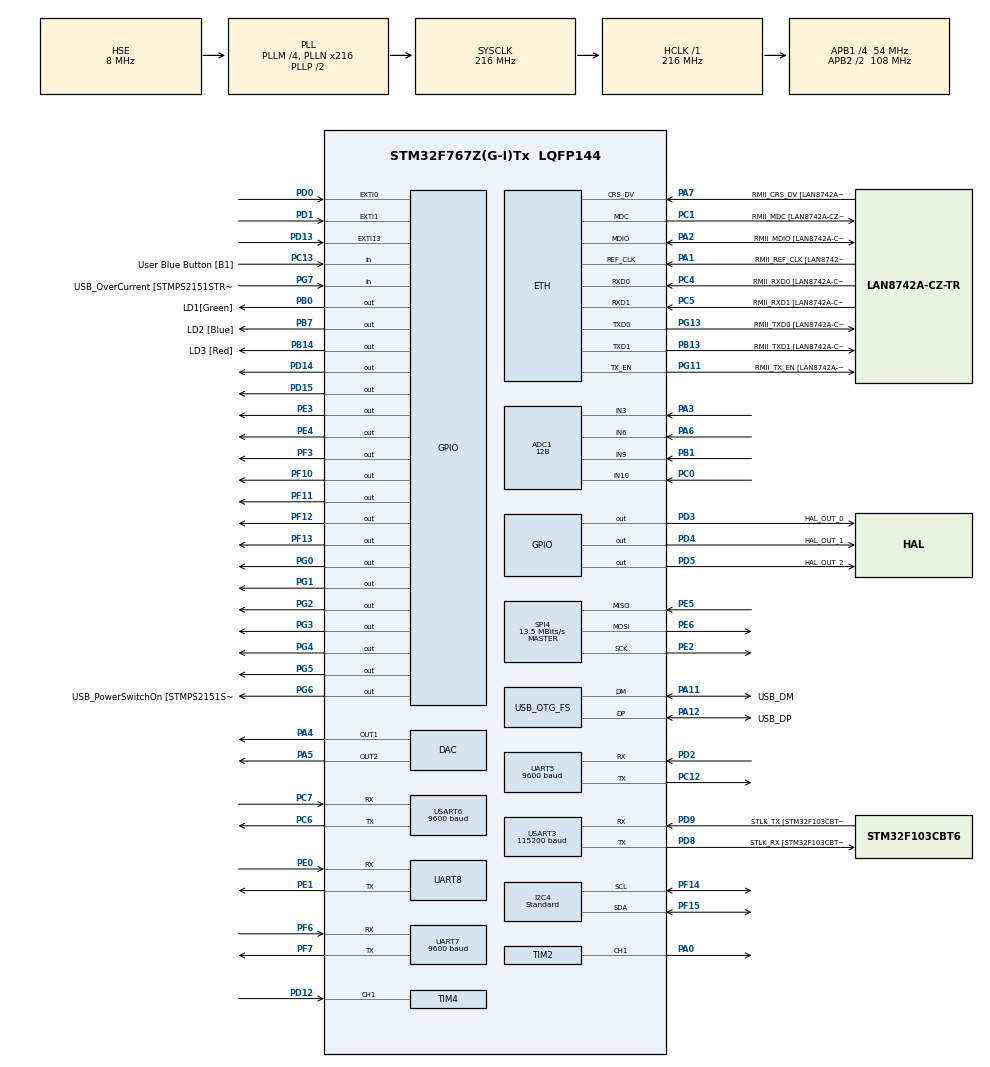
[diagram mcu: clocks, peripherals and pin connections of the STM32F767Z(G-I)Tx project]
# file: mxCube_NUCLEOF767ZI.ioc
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ADC1.AutoInjectedConv=DISABLE
ADC1.Channel-0\#ChannelRegularConversion=ADC_CHANNEL_10
ADC1.Channel-1\#ChannelRegularConversion=ADC_CHANNEL_3
ADC1.Channel-2\#ChannelRegularConversion=ADC_CHANNEL_6
ADC1.Channel-3\#ChannelRegularConversion=ADC_CHANNEL_9
ADC1.Channel-4\#ChannelRegularConversion=ADC_CHANNEL_TEMPSENSOR
ADC1.Channel-5\#ChannelRegularConversion=ADC_CHANNEL_VREFINT
ADC1.ClockPrescaler=ADC_CLOCK_SYNC_PCLK_DIV4
ADC1.ContinuousConvMode=ENABLE
ADC1.DMAContinuousRequests=ENABLE
ADC1.DataAlign=ADC_DATAALIGN_RIGHT
ADC1.DiscontinuousConvMode=DISABLE
ADC1.EOCSelection=ADC_EOC_SINGLE_CONV
ADC1.EnableAnalogWatchDog=false
ADC1.ExternalTrigConvEdge=ADC_EXTERNALTRIGCONVEDGE_NONE
ADC1.InjNumberOfConversion=0
ADC1.InjectedDiscontinuousConvMode=DISABLE
ADC1.NbrOfConversion=6
ADC1.NbrOfConversionFlag=1
ADC1.Rank-0\#ChannelRegularConversion=1
ADC1.Rank-1\#ChannelRegularConversion=2
ADC1.Rank-2\#ChannelRegularConversion=3
ADC1.Rank-3\#ChannelRegularConversion=4
ADC1.Rank-4\#ChannelRegularConversion=5
ADC1.Rank-5\#ChannelRegularConversion=6
ADC1.Resolution=ADC_RESOLUTION_12B
ADC1.SamplingTime-0\#ChannelRegularConversion=ADC_SAMPLETIME_480CYCLES
ADC1.SamplingTime-1\#ChannelRegularConversion=ADC_SAMPLETIME_480CYCLES
ADC1.SamplingTime-2\#ChannelRegularConversion=ADC_SAMPLETIME_480CYCLES
ADC1.SamplingTime-3\#ChannelRegularConversion=ADC_SAMPLETIME_480CYCLES
ADC1.SamplingTime-4\#ChannelRegularConversion=ADC_SAMPLETIME_480CYCLES
ADC1.SamplingTime-5\#ChannelRegularConversion=ADC_SAMPLETIME_480CYCLES
ADC1.ScanConvMode=ENABLE
ADC1.master=1
CORTEX_M7.CPU_DCache=Enabled
CORTEX_M7.CPU_ICache=Enabled
CORTEX_M7.PREFETCH_ENABLE=1
DAC.DAC_Channel=DAC_CHANNEL_1
DAC.DAC_Channel2=DAC_CHANNEL_2
DAC.WaveGeneration=DISABLE
DAC.WaveGeneration2=DISABLE
Dma.ADC1.0.Direction=DMA_PERIPH_TO_MEMORY
Dma.ADC1.0.FIFOMode=DMA_FIFOMODE_DISABLE
Dma.ADC1.0.Instance=DMA2_Stream0
Dma.ADC1.0.MemDataAlignment=DMA_MDATAALIGN_HALFWORD
Dma.ADC1.0.MemInc=DMA_MINC_ENABLE
Dma.ADC1.0.Mode=DMA_CIRCULAR
Dma.ADC1.0.PeriphDataAlignment=DMA_PDATAALIGN_HALFWORD
Dma.ADC1.0.PeriphInc=DMA_PINC_DISABLE
Dma.ADC1.0.Priority=DMA_PRIORITY_LOW
Dma.I2C4_RX.1.Direction=DMA_PERIPH_TO_MEMORY
Dma.I2C4_RX.1.FIFOMode=DMA_FIFOMODE_DISABLE
Dma.I2C4_RX.1.Instance=DMA1_Stream1
Dma.I2C4_RX.1.MemDataAlignment=DMA_MDATAALIGN_BYTE
Dma.I2C4_RX.1.MemInc=DMA_MINC_ENABLE
Dma.I2C4_RX.1.Mode=DMA_NORMAL
Dma.I2C4_RX.1.PeriphDataAlignment=DMA_PDATAALIGN_BYTE
Dma.I2C4_RX.1.PeriphInc=DMA_PINC_DISABLE
Dma.I2C4_RX.1.Priority=DMA_PRIORITY_LOW
Dma.I2C4_TX.2.Direction=DMA_MEMORY_TO_PERIPH
Dma.I2C4_TX.2.FIFOMode=DMA_FIFOMODE_DISABLE
Dma.I2C4_TX.2.Instance=DMA1_Stream5
Dma.I2C4_TX.2.MemDataAlignment=DMA_MDATAALIGN_BYTE
Dma.I2C4_TX.2.MemInc=DMA_MINC_ENABLE
Dma.I2C4_TX.2.Mode=DMA_NORMAL
Dma.I2C4_TX.2.PeriphDataAlignment=DMA_PDATAALIGN_BYTE
Dma.I2C4_TX.2.PeriphInc=DMA_PINC_DISABLE
Dma.I2C4_TX.2.Priority=DMA_PRIORITY_LOW
Dma.Request0=ADC1
Dma.Request1=I2C4_RX
Dma.Request2=I2C4_TX
ETH.MediaInterface=ETH_MEDIA_INTERFACE_RMII
I2C4.I2C_Fall_Time=300
I2C4.I2C_Rise_Time=200
I2C4.I2C_Speed_Mode=I2C_Standard
I2C4.OwnAddress2Masks=I2C_OA2_NOMASK
I2C4.Speed=100
I2C4.Timing=0x10C66991
Mcu.Family=STM32F7
Mcu.Name=STM32F767Z(G-I)Tx
Mcu.Package=LQFP144
NVIC.ADC_IRQn=true\:4\:0\:true\:false\:true
NVIC.DMA1_Stream1_IRQn=true\:0\:0\:false\:false\:true
NVIC.DMA1_Stream5_IRQn=true\:0\:0\:false\:false\:true
NVIC.DMA2_Stream0_IRQn=true\:0\:0\:false\:false\:true
NVIC.EXTI0_IRQn=true\:3\:0\:true\:false\:true
NVIC.EXTI15_10_IRQn=true\:3\:0\:true\:false\:true
NVIC.EXTI1_IRQn=true\:3\:0\:true\:false\:true
NVIC.I2C4_ER_IRQn=true\:1\:0\:true\:false\:true
NVIC.I2C4_EV_IRQn=true\:7\:0\:true\:false\:true
NVIC.PriorityGroup=NVIC_PRIORITYGROUP_4
NVIC.TIM3_IRQn=true\:2\:0\:true\:false\:true
NVIC.TIM4_IRQn=true\:6\:0\:true\:false\:true
NVIC.TIM6_DAC_IRQn=true\:0\:0\:false\:false\:true
NVIC.UART5_IRQn=true\:3\:0\:true\:false\:true
NVIC.UART7_IRQn=true\:0\:0\:false\:false\:true
NVIC.UART8_IRQn=true\:0\:0\:false\:false\:true
NVIC.USART3_IRQn=true\:6\:0\:true\:false\:true
NVIC.USART6_IRQn=true\:0\:0\:false\:false\:true
PA0/WKUP.GPIO_Speed=GPIO_SPEED_FREQ_VERY_HIGH
PA0/WKUP.Signal=S_TIM2_CH1_ETR
PA1.GPIO_Label=RMII_REF_CLK [LAN8742A-CZ-TR_REFCLK0]
PA1.Mode=RMII
PA1.Signal=ETH_REF_CLK
PA10.GPIO_Label=USB_ID
PA10.Signal=USB_OTG_FS_ID
PA11.GPIO_Label=USB_DM
PA11.Mode=Device_Only
PA11.Signal=USB_OTG_FS_DM
PA12.GPIO_Label=USB_DP
PA12.Mode=Device_Only
PA12.Signal=USB_OTG_FS_DP
PA13.GPIO_Label=TMS
PA13.Mode=Trace_Asynchronous_SW
PA13.Signal=SYS_JTMS-SWDIO
PA14.GPIO_Label=TCK
PA14.Mode=Trace_Asynchronous_SW
PA14.Signal=SYS_JTCK-SWCLK
PA2.GPIO_Label=RMII_MDIO [LAN8742A-CZ-TR_MDIO]
PA2.Mode=RMII
PA2.Signal=ETH_MDIO
PA3.Signal=ADCx_IN3
PA4.Signal=COMP_DAC1_group
PA5.Signal=COMP_DAC2_group
PA6.Signal=ADCx_IN6
PA7.GPIO_Label=RMII_CRS_DV [LAN8742A-CZ-TR_CRS_DV]
PA7.Mode=RMII
PA7.Signal=ETH_CRS_DV
PA8.GPIO_Label=USB_SOF [TP1]
PA8.Signal=USB_OTG_FS_SOF
PA9.GPIO_Label=USB_VBUS
PA9.Signal=USB_OTG_FS_VBUS
PB0.GPIO_Label=LD1[Green]
PB0.Signal=GPIO_Output
PB1.Signal=ADCx_IN9
PB13.GPIO_Label=RMII_TXD1 [LAN8742A-CZ-TR_TXD1]
PB13.Mode=RMII
PB13.Signal=ETH_TXD1
PB14.GPIO_Label=LD3 [Red]
PB14.Signal=GPIO_Output
PB3.GPIO_Label=SW0
PB3.Mode=Trace_Asynchronous_SW
PB3.Signal=SYS_JTDO-SWO
PB7.GPIO_Label=LD2 [Blue]
PB7.Signal=GPIO_Output
PC0.Signal=ADCx_IN10
PC1.GPIO_Label=RMII_MDC [LAN8742A-CZ-TR_MDC]
PC1.Mode=RMII
PC1.Signal=ETH_MDC
PC12.Mode=Asynchronous
PC12.Signal=UART5_TX
PC13.GPIO_Label=User Blue Button [B1]
PC13.Signal=GPIO_Input
PC14/OSC32_IN.Mode=LSE-External-Oscillator
PC14/OSC32_IN.Signal=RCC_OSC32_IN
PC15/OSC32_OUT.Mode=LSE-External-Oscillator
PC15/OSC32_OUT.Signal=RCC_OSC32_OUT
PC4.GPIO_Label=RMII_RXD0 [LAN8742A-CZ-TR_RXD0]
PC4.Mode=RMII
PC4.Signal=ETH_RXD0
PC5.GPIO_Label=RMII_RXD1 [LAN8742A-CZ-TR_RXD1]
PC5.Mode=RMII
PC5.Signal=ETH_RXD1
PC6.Mode=Asynchronous
PC6.Signal=USART6_TX
PC7.Mode=Asynchronous
PC7.Signal=USART6_RX
PD0.GPIO_PuPd=GPIO_PULLUP
PD0.Signal=GPXTI0
PD1.GPIO_PuPd=GPIO_PULLUP
PD1.Signal=GPXTI1
PD12.Signal=S_TIM4_CH1
PD13.GPIO_PuPd=GPIO_PULLUP
PD13.Signal=GPXTI13
PD14.Signal=GPIO_Output
PD15.Signal=GPIO_Output
PD2.Mode=Asynchronous
PD2.Signal=UART5_RX
PD3.GPIO_Label=HAL_OUT_0
PD3.Signal=GPIO_Output
PD4.GPIO_Label=HAL_OUT_1
PD4.Signal=GPIO_Output
PD5.GPIO_Label=HAL_OUT_2
PD5.Signal=GPIO_Output
PD8.GPIO_Label=STLK_RX [STM32F103CBT6_PA3]
PD8.Mode=Asynchronous
PD8.Signal=USART3_TX
PD9.GPIO_Label=STLK_TX [STM32F103CBT6_PA2]
PD9.Mode=Asynchronous
PD9.Signal=USART3_RX
PE0.Mode=Asynchronous
PE0.Signal=UART8_RX
PE1.Mode=Asynchronous
PE1.Signal=UART8_TX
PE2.Mode=Full_Duplex_Master
PE2.Signal=SPI4_SCK
PE3.Signal=GPIO_Output
PE4.Signal=GPIO_Output
PE5.Mode=Full_Duplex_Master
PE5.Signal=SPI4_MISO
PE6.Mode=Full_Duplex_Master
PE6.Signal=SPI4_MOSI
PF10.GPIO_Speed=GPIO_SPEED_FREQ_HIGH
PF10.Signal=GPIO_Output
PF11.GPIO_Speed=GPIO_SPEED_FREQ_HIGH
PF11.Signal=GPIO_Output
PF12.GPIO_Speed=GPIO_SPEED_FREQ_HIGH
PF12.Signal=GPIO_Output
PF13.GPIO_Speed=GPIO_SPEED_FREQ_HIGH
PF13.Signal=GPIO_Output
PF14.Mode=I2C
PF14.Signal=I2C4_SCL
PF15.Mode=I2C
PF15.Signal=I2C4_SDA
PF3.GPIO_Speed=GPIO_SPEED_FREQ_HIGH
PF3.Signal=GPIO_Output
PF6.Mode=Asynchronous
PF6.Signal=UART7_RX
PF7.Mode=Asynchronous
PF7.Signal=UART7_TX
PG0.Signal=GPIO_Output
PG1.Signal=GPIO_Output
PG11.GPIO_Label=RMII_TX_EN [LAN8742A-CZ-TR_TXEN]
PG11.Mode=RMII
PG11.Signal=ETH_TX_EN
PG13.GPIO_Label=RMII_TXD0 [LAN8742A-CZ-TR_TXD0]
PG13.Mode=RMII
PG13.Signal=ETH_TXD0
PG2.Signal=GPIO_Output
PG3.Signal=GPIO_Output
PG4.Signal=GPIO_Output
PG5.Signal=GPIO_Output
PG6.GPIO_Label=USB_PowerSwitchOn [STMPS2151STR_EN]
PG6.Signal=GPIO_Output
PG7.GPIO_Label=USB_OverCurrent [STMPS2151STR_FAULT]
PG7.Signal=GPIO_Input
PH0/OSC_IN.GPIO_Label=MCO [STM32F103CBT6_PA8]
PH0/OSC_IN.Mode=HSE-External-Oscillator
PH0/OSC_IN.Signal=RCC_OSC_IN
PH1/OSC_OUT.Mode=HSE-External-Oscillator
PH1/OSC_OUT.Signal=RCC_OSC_OUT
ProjectManager.HeapSize=0x200
ProjectManager.StackSize=0x400
ProjectManager.TargetToolchain=SW4STM32
RCC.48MHZClocksFreq_Value=24000000
RCC.AHBFreq_Value=216000000
RCC.APB1CLKDivider=RCC_HCLK_DIV4
RCC.APB1Freq_Value=54000000
RCC.APB1TimFreq_Value=108000000
RCC.APB2CLKDivider=RCC_HCLK_DIV2
RCC.APB2Freq_Value=108000000
RCC.APB2TimFreq_Value=216000000
RCC.CECEnable=false
RCC.ClockTypeHCLK=RCC_CLOCKTYPE_HCLK
RCC.ClockTypePCLK1=RCC_CLOCKTYPE_PCLK1
RCC.ClockTypePCLK2=RCC_CLOCKTYPE_PCLK2
RCC.ClockTypeSysClk=RCC_CLOCKTYPE_SYSCLK
RCC.CortexFreq_Value=216000000
RCC.EnableHSE=true
RCC.EnableHSERTCDevisor=false
RCC.EnableLSE=true
RCC.EnableLSERTC=false
RCC.ExtClockEnable=false
RCC.HCLKFreq_Value=216000000
RCC.HSEState=RCC_HSE_ON
RCC.HSE_VALUE=8000000
RCC.HSI_VALUE=16000000
RCC.I2C1Enable=false
RCC.I2C2Enable=false
RCC.I2C3Enable=false
RCC.I2C4Enable=true
RCC.I2SEnable=false
RCC.LCDEnable=false
RCC.LPTIM1Enable=false
RCC.LSEState=RCC_LSE_ON
RCC.LSIState=RCC_LSI_OFF
RCC.MCO1OutPutEnable=false
RCC.MCO2I2SEnable=false
RCC.MCO2OutPutEnable=false
RCC.OscillatorTypeHSE=RCC_OSCILLATORTYPE_HSE
RCC.PLLM=4
RCC.PLLMUL=RCC_PLL_MUL9
RCC.PLLN=216
RCC.PLLQ=9
RCC.PLLSourceVirtual=RCC_PLLSOURCE_HSE
RCC.PLLState=RCC_PLL_ON
RCC.PRESCALERUSB=RCC_USBCLKSOURCE_PLL_DIV1_5
RCC.RCC_PERIPHCLK_I2C4Var=RCC_PERIPHCLK_I2C4
RCC.RCC_PERIPHCLK_UART5Var=RCC_PERIPHCLK_UART5
RCC.RCC_PERIPHCLK_UART7Var=RCC_PERIPHCLK_UART7
RCC.RCC_PERIPHCLK_UART8Var=RCC_PERIPHCLK_UART8
RCC.RCC_PERIPHCLK_USART3Var=RCC_PERIPHCLK_USART3
RCC.RCC_PERIPHCLK_USART6Var=RCC_PERIPHCLK_USART6
RCC.RCC_PERIPHCLK_USBVar=RCC_PERIPHCLK_CLK48
RCC.RTCEnable=false
RCC.SAI1Enable=false
RCC.SAI2Enable=false
RCC.SDMMC1Enable=false
RCC.SPDIFEnable=false
RCC.SYSCLKFreq_VALUE=216000000
RCC.SYSCLKSource=RCC_SYSCLKSOURCE_PLLCLK
RCC.SYSCLKSourceVirtual=RCC_SYSCLKSOURCE_PLLCLK
RCC.UART4Enable=false
RCC.UART5Enable=true
RCC.UART7Enable=true
RCC.UART8Enable=true
RCC.USART1Enable=false
RCC.USART2Enable=false
RCC.USART3Enable=true
RCC.USART6Enable=true
RCC.USBEnable=true
RCC.USBFreq_Value=48000000
RCC.VCOOutputFreq_Value=432000000
SH.ADCx_IN10.0=ADC1_IN10,IN10
SH.ADCx_IN3.0=ADC1_IN3,IN3
SH.ADCx_IN6.0=ADC1_IN6,IN6
SH.ADCx_IN9.0=ADC1_IN9,IN9
SH.COMP_DAC1_group.0=DAC_OUT1,DAC_OUT1
SH.COMP_DAC2_group.0=DAC_OUT2,DAC_OUT2
SH.S_TIM2_CH1_ETR.0=TIM2_CH1,PWM Generation1 CH1
SH.S_TIM4_CH1.0=TIM4_CH1,TriggerSource_TI1FP1
SH.S_TIM4_CH1.1=TIM4_CH1,Input_Capture1_from_TI1
SPI4.BaudRatePrescaler=SPI_BAUDRATEPRESCALER_8
SPI4.CLKPolarity=SPI_POLARITY_HIGH
SPI4.CRCLength=SPI_CRC_LENGTH_DATASIZE
SPI4.CRCPolynomial=7
SPI4.CalculateBaudRate=13.5 MBits/s
SPI4.DataSize=SPI_DATASIZE_16BIT
SPI4.Direction=SPI_DIRECTION_2LINES
SPI4.Mode=SPI_MODE_MASTER
SPI4.NSSPMode=SPI_NSS_PULSE_DISABLE
SPI4.VirtualType=VM_MASTER
TIM2.Channel-PWM\ Generation1\ CH1=TIM_CHANNEL_1
TIM2.ClearInputState=ENABLE
TIM2.ClockDivision=TIM_CLOCKDIVISION_DIV1
TIM2.CounterMode=TIM_COUNTERMODE_UP
TIM2.OCFastMode_PWM-PWM\ Generation1\ CH1=TIM_OCFAST_ENABLE
TIM2.OCMode_PWM-PWM\ Generation1\ CH1=TIM_OCMODE_ASSYMETRIC_PWM1
TIM2.Period=100
TIM2.Prescaler=108
TIM2.Pulse-PWM\ Generation1\ CH1=40
TIM3.Period=400
TIM3.Prescaler=54
TIM4.Channel-Input_Capture1_from_TI1=TIM_CHANNEL_1
TIM4.Channel-Output\ Compare2\ No\ Output=TIM_CHANNEL_2
TIM4.ClearInputState=ENABLE
TIM4.DefaultOCFastMode-Output\ Compare2\ No\ Output=TIM_OCFAST_DISABLE
TIM4.ICPolarity_CH1=TIM_INPUTCHANNELPOLARITY_BOTHEDGE
TIM4.Period=20000
TIM4.Pulse-Output\ Compare2\ No\ Output=11000
TIM6.Period=100
TIM6.Prescaler=108
TIM6.TIM_MasterSlaveMode=TIM_MASTERSLAVEMODE_DISABLE
UART5.BaudRate=9600
UART5.HwFlowCtl-Asynchronous=UART_HWCONTROL_NONE
UART5.WordLength=WORDLENGTH_8B
UART7.BaudRate=9600
UART7.HwFlowCtl-Asynchronous=UART_HWCONTROL_NONE
UART7.WordLength=WORDLENGTH_8B
UART8.HwFlowCtl-Asynchronous=UART_HWCONTROL_NONE
UART8.WordLength=WORDLENGTH_8B
USART3.BaudRate=115200
USART3.HwFlowCtl-Asynchronous=UART_HWCONTROL_NONE
USART3.VirtualMode-Asynchronous=VM_ASYNC
USART3.WordLength=WORDLENGTH_8B
USART6.BaudRate=9600
USART6.HwFlowCtl-Asynchronous=UART_HWCONTROL_NONE
USART6.VirtualMode-Asynchronous=VM_ASYNC
USART6.WordLength=WORDLENGTH_8B
USB_OTG_FS.VirtualMode=Device_Only
USB_OTG_FS.phy_itface=PCD_PHY_EMBEDDED
VP_ADC1_TempSens_Input.Mode=IN-TempSens
VP_ADC1_Vref_Input.Mode=IN-Vrefint
VP_TIM2_VS_ClockSourceINT.Mode=Internal
VP_TIM3_VS_ClockSourceINT.Mode=Internal
VP_TIM4_VS_ClockSourceINT.Mode=Internal
VP_TIM4_VS_ControllerModeReset.Mode=Reset Mode
VP_TIM4_VS_no_output2.Mode=Output Compare2 No Output
VP_TIM6_VS_ClockSourceINT.Mode=Enable_Timer
board=NUCLEO-F767ZI

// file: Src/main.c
/**
  ******************************************************************************
  * File Name          : main.c
  * Description        : Main program body
  ******************************************************************************
  *
  * COPYRIGHT(c) 2017 STMicroelectronics
  *
  * Redistribution and use in source and binary forms, with or without modification,
  * are permitted provided that the following conditions are met:
  *   1. Redistributions of source code must retain the above copyright notice,
  *      this list of conditions and the following disclaimer.
  *   2. Redistributions in binary form must reproduce the above copyright notice,
  *      this list of conditions and the following disclaimer in the documentation
  *      and/or other materials provided with the distribution.
  *   3. Neither the name of STMicroelectronics nor the names of its contributors
  *      may be used to endorse or promote products derived from this software
  *      without specific prior written permission.
  *
  * THIS SOFTWARE IS PROVIDED BY THE COPYRIGHT HOLDERS AND CONTRIBUTORS "AS IS"
  * AND ANY EXPRESS OR IMPLIED WARRANTIES, INCLUDING, BUT NOT LIMITED TO, THE
  * IMPLIED WARRANTIES OF MERCHANTABILITY AND FITNESS FOR A PARTICULAR PURPOSE ARE
  * DISCLAIMED. IN NO EVENT SHALL THE COPYRIGHT HOLDER OR CONTRIBUTORS BE LIABLE
  * FOR ANY DIRECT, INDIRECT, INCIDENTAL, SPECIAL, EXEMPLARY, OR CONSEQUENTIAL
  * DAMAGES (INCLUDING, BUT NOT LIMITED TO, PROCUREMENT OF SUBSTITUTE GOODS OR
  * SERVICES; LOSS OF USE, DATA, OR PROFITS; OR BUSINESS INTERRUPTION) HOWEVER
  * CAUSED AND ON ANY THEORY OF LIABILITY, WHETHER IN CONTRACT, STRICT LIABILITY,
  * OR TORT (INCLUDING NEGLIGENCE OR OTHERWISE) ARISING IN ANY WAY OUT OF THE USE
  * OF THIS SOFTWARE, EVEN IF ADVISED OF THE POSSIBILITY OF SUCH DAMAGE.
  *
  ******************************************************************************
  */
#include "main.h"
#include "stm32f7xx_hal.h"

ADC_HandleTypeDef hadc1;
DMA_HandleTypeDef hdma_adc1;

DAC_HandleTypeDef hdac;

ETH_HandleTypeDef heth;

I2C_HandleTypeDef hi2c4;
DMA_HandleTypeDef hdma_i2c4_rx;
DMA_HandleTypeDef hdma_i2c4_tx;

SPI_HandleTypeDef hspi4;

TIM_HandleTypeDef htim2;
TIM_HandleTypeDef htim3;
TIM_HandleTypeDef htim4;
TIM_HandleTypeDef htim6;

UART_HandleTypeDef huart5;
UART_HandleTypeDef huart7;
UART_HandleTypeDef huart8;
UART_HandleTypeDef huart3;
UART_HandleTypeDef huart6;

PCD_HandleTypeDef hpcd_USB_OTG_FS;

/* USER CODE BEGIN PV */
/* Private variables ---------------------------------------------------------*/

/* USER CODE END PV */

void SystemClock_Config(void);
void Error_Handler(void);
static void MX_GPIO_Init(void);
static void MX_DMA_Init(void);
static void MX_ETH_Init(void);
static void MX_USART3_UART_Init(void);
static void MX_USB_OTG_FS_PCD_Init(void);
static void MX_TIM2_Init(void);
static void MX_DAC_Init(void);
static void MX_SPI4_Init(void);
static void MX_TIM3_Init(void);
static void MX_TIM4_Init(void);
static void MX_UART5_Init(void);
static void MX_I2C4_Init(void);
static void MX_ADC1_Init(void);
static void MX_USART6_UART_Init(void);
static void MX_UART7_Init(void);
static void MX_TIM6_Init(void);
static void MX_UART8_Init(void);

void HAL_TIM_MspPostInit(TIM_HandleTypeDef *htim);

/* USER CODE BEGIN PFP */
/* Private function prototypes -----------------------------------------------*/
__weak int etStart(int argc, char** argv);
__weak void etTick_Handler(uint32_t nanoSecPerTick);

void ETUNIT_init(void);
void DAC_start(void);

void i2c4Init(void){
	HAL_Delay(10);
	MX_I2C4_Init();
	HAL_Delay(10);
}

/* USER CODE END PFP */

/* USER CODE BEGIN 0 */
void Hal_initUart5(void){
	 MX_UART5_Init();
}

void Hal_initUsart6(void){
	MX_USART6_UART_Init();
}

void Hal_initUart7(void){
	MX_UART7_Init();
}

void HAL_SYSTICK_Callback(void){
	etTick_Handler(1000000);
}
/* USER CODE END 0 */

int main(void)
{

  /* Enable I-Cache-------------------------------------------------------------*/
  SCB_EnableICache();

  /* Enable D-Cache-------------------------------------------------------------*/
  SCB_EnableDCache();

  /* MCU Configuration----------------------------------------------------------*/

  /* Reset of all peripherals, Initializes the Flash interface and the Systick. */
  HAL_Init();

  /* Configure the system clock */
  SystemClock_Config();

  /* Initialize all configured peripherals */
  MX_GPIO_Init();
  MX_DMA_Init();
  MX_ETH_Init();
  MX_USART3_UART_Init();
  MX_USB_OTG_FS_PCD_Init();
  MX_TIM2_Init();
  MX_DAC_Init();
  MX_SPI4_Init();
  MX_TIM3_Init();
  MX_TIM4_Init();
  MX_UART5_Init();
  MX_I2C4_Init();
  MX_ADC1_Init();
  MX_USART6_UART_Init();
  MX_UART7_Init();
  MX_TIM6_Init();
  MX_UART8_Init();

  /* USER CODE BEGIN 2 */
  HAL_TIM_PWM_Start(&htim2, TIM_CHANNEL_1);
  HAL_TIM_Base_Start_IT(&htim3);
  HAL_TIM_IC_Start_IT(&htim4, TIM_CHANNEL_1);
  HAL_TIM_OC_Start_IT(&htim4, TIM_CHANNEL_2);
  HAL_TIM_Base_Start_IT(&htim6);

  //HAL_ADC_Start_DMA(&hadc1,adcBuffer, 24);

  ETUNIT_init();
  etStart(0,NULL);

  DAC_start();
  /* USER CODE END 2 */

  /* Infinite loop */
  while (1)
  {

  }

}

/** System Clock Configuration
*/
void SystemClock_Config(void)
{

  RCC_OscInitTypeDef RCC_OscInitStruct;
  RCC_ClkInitTypeDef RCC_ClkInitStruct;
  RCC_PeriphCLKInitTypeDef PeriphClkInitStruct;

    /**Configure the main internal regulator output voltage
    */
  __HAL_RCC_PWR_CLK_ENABLE();

  __HAL_PWR_VOLTAGESCALING_CONFIG(PWR_REGULATOR_VOLTAGE_SCALE1);

    /**Initializes the CPU, AHB and APB busses clocks
    */
  RCC_OscInitStruct.OscillatorType = RCC_OSCILLATORTYPE_HSE;
  RCC_OscInitStruct.HSEState = RCC_HSE_ON;
  RCC_OscInitStruct.PLL.PLLState = RCC_PLL_ON;
  RCC_OscInitStruct.PLL.PLLSource = RCC_PLLSOURCE_HSE;
  RCC_OscInitStruct.PLL.PLLM = 4;
  RCC_OscInitStruct.PLL.PLLN = 216;
  RCC_OscInitStruct.PLL.PLLP = RCC_PLLP_DIV2;
  RCC_OscInitStruct.PLL.PLLQ = 9;
  if (HAL_RCC_OscConfig(&RCC_OscInitStruct) != HAL_OK)
  {
    Error_Handler();
  }

    /**Activate the Over-Drive mode
    */
  if (HAL_PWREx_EnableOverDrive() != HAL_OK)
  {
    Error_Handler();
  }

    /**Initializes the CPU, AHB and APB busses clocks
    */
  RCC_ClkInitStruct.ClockType = RCC_CLOCKTYPE_HCLK|RCC_CLOCKTYPE_SYSCLK
                              |RCC_CLOCKTYPE_PCLK1|RCC_CLOCKTYPE_PCLK2;
  RCC_ClkInitStruct.SYSCLKSource = RCC_SYSCLKSOURCE_PLLCLK;
  RCC_ClkInitStruct.AHBCLKDivider = RCC_SYSCLK_DIV1;
  RCC_ClkInitStruct.APB1CLKDivider = RCC_HCLK_DIV4;
  RCC_ClkInitStruct.APB2CLKDivider = RCC_HCLK_DIV2;

  if (HAL_RCC_ClockConfig(&RCC_ClkInitStruct, FLASH_LATENCY_7) != HAL_OK)
  {
    Error_Handler();
  }

  PeriphClkInitStruct.PeriphClockSelection = RCC_PERIPHCLK_USART3|RCC_PERIPHCLK_USART6
                              |RCC_PERIPHCLK_UART5|RCC_PERIPHCLK_UART7
                              |RCC_PERIPHCLK_UART8|RCC_PERIPHCLK_I2C4
                              |RCC_PERIPHCLK_CLK48;
  PeriphClkInitStruct.Usart3ClockSelection = RCC_USART3CLKSOURCE_PCLK1;
  PeriphClkInitStruct.Uart5ClockSelection = RCC_UART5CLKSOURCE_PCLK1;
  PeriphClkInitStruct.Usart6ClockSelection = RCC_USART6CLKSOURCE_PCLK2;
  PeriphClkInitStruct.Uart7ClockSelection = RCC_UART7CLKSOURCE_PCLK1;
  PeriphClkInitStruct.Uart8ClockSelection = RCC_UART8CLKSOURCE_PCLK1;
  PeriphClkInitStruct.I2c4ClockSelection = RCC_I2C4CLKSOURCE_PCLK1;
  PeriphClkInitStruct.Clk48ClockSelection = RCC_CLK48SOURCE_PLL;
  if (HAL_RCCEx_PeriphCLKConfig(&PeriphClkInitStruct) != HAL_OK)
  {
    Error_Handler();
  }

    /**Configure the Systick interrupt time
    */
  HAL_SYSTICK_Config(HAL_RCC_GetHCLKFreq()/1000);

    /**Configure the Systick
    */
  HAL_SYSTICK_CLKSourceConfig(SYSTICK_CLKSOURCE_HCLK);

  /* SysTick_IRQn interrupt configuration */
  HAL_NVIC_SetPriority(SysTick_IRQn, 0, 0);
}

/* ADC1 init function */
static void MX_ADC1_Init(void)
{

  ADC_ChannelConfTypeDef sConfig;

    /**Configure the global features of the ADC (Clock, Resolution, Data Alignment and number of conversion)
    */
  hadc1.Instance = ADC1;
  hadc1.Init.ClockPrescaler = ADC_CLOCK_SYNC_PCLK_DIV4;
  hadc1.Init.Resolution = ADC_RESOLUTION_12B;
  hadc1.Init.ScanConvMode = ENABLE;
  hadc1.Init.ContinuousConvMode = ENABLE;
  hadc1.Init.DiscontinuousConvMode = DISABLE;
  hadc1.Init.ExternalTrigConvEdge = ADC_EXTERNALTRIGCONVEDGE_NONE;
  hadc1.Init.ExternalTrigConv = ADC_SOFTWARE_START;
  hadc1.Init.DataAlign = ADC_DATAALIGN_RIGHT;
  hadc1.Init.NbrOfConversion = 6;
  hadc1.Init.DMAContinuousRequests = ENABLE;
  hadc1.Init.EOCSelection = ADC_EOC_SINGLE_CONV;
  if (HAL_ADC_Init(&hadc1) != HAL_OK)
  {
    Error_Handler();
  }

    /**Configure for the selected ADC regular channel its corresponding rank in the sequencer and its sample time.
    */
  sConfig.Channel = ADC_CHANNEL_10;
  sConfig.Rank = 1;
  sConfig.SamplingTime = ADC_SAMPLETIME_480CYCLES;
  if (HAL_ADC_ConfigChannel(&hadc1, &sConfig) != HAL_OK)
  {
    Error_Handler();
  }

    /**Configure for the selected ADC regular channel its corresponding rank in the sequencer and its sample time.
    */
  sConfig.Channel = ADC_CHANNEL_3;
  sConfig.Rank = 2;
  if (HAL_ADC_ConfigChannel(&hadc1, &sConfig) != HAL_OK)
  {
    Error_Handler();
  }

    /**Configure for the selected ADC regular channel its corresponding rank in the sequencer and its sample time.
    */
  sConfig.Channel = ADC_CHANNEL_6;
  sConfig.Rank = 3;
  if (HAL_ADC_ConfigChannel(&hadc1, &sConfig) != HAL_OK)
  {
    Error_Handler();
  }

    /**Configure for the selected ADC regular channel its corresponding rank in the sequencer and its sample time.
    */
  sConfig.Channel = ADC_CHANNEL_9;
  sConfig.Rank = 4;
  if (HAL_ADC_ConfigChannel(&hadc1, &sConfig) != HAL_OK)
  {
    Error_Handler();
  }

    /**Configure for the selected ADC regular channel its corresponding rank in the sequencer and its sample time.
    */
  sConfig.Channel = ADC_CHANNEL_TEMPSENSOR;
  sConfig.Rank = 5;
  if (HAL_ADC_ConfigChannel(&hadc1, &sConfig) != HAL_OK)
  {
    Error_Handler();
  }

    /**Configure for the selected ADC regular channel its corresponding rank in the sequencer and its sample time.
    */
  sConfig.Channel = ADC_CHANNEL_VREFINT;
  sConfig.Rank = 6;
  if (HAL_ADC_ConfigChannel(&hadc1, &sConfig) != HAL_OK)
  {
    Error_Handler();
  }

}

/* DAC init function */
static void MX_DAC_Init(void)
{

  DAC_ChannelConfTypeDef sConfig;

    /**DAC Initialization
    */
  hdac.Instance = DAC;
  if (HAL_DAC_Init(&hdac) != HAL_OK)
  {
    Error_Handler();
  }

    /**DAC channel OUT1 config
    */
  sConfig.DAC_Trigger = DAC_TRIGGER_NONE;
  sConfig.DAC_OutputBuffer = DAC_OUTPUTBUFFER_ENABLE;
  if (HAL_DAC_ConfigChannel(&hdac, &sConfig, DAC_CHANNEL_1) != HAL_OK)
  {
    Error_Handler();
  }

    /**DAC channel OUT2 config
    */
  if (HAL_DAC_ConfigChannel(&hdac, &sConfig, DAC_CHANNEL_2) != HAL_OK)
  {
    Error_Handler();
  }

}

/* ETH init function */
static void MX_ETH_Init(void)
{

   uint8_t MACAddr[6] ;

  heth.Instance = ETH;
  heth.Init.AutoNegotiation = ETH_AUTONEGOTIATION_ENABLE;
  heth.Init.PhyAddress = LAN8742A_PHY_ADDRESS;
  MACAddr[0] = 0x00;
  MACAddr[1] = 0x80;
  MACAddr[2] = 0xE1;
  MACAddr[3] = 0x00;
  MACAddr[4] = 0x00;
  MACAddr[5] = 0x00;
  heth.Init.MACAddr = &MACAddr[0];
  heth.Init.RxMode = ETH_RXPOLLING_MODE;
  heth.Init.ChecksumMode = ETH_CHECKSUM_BY_HARDWARE;
  heth.Init.MediaInterface = ETH_MEDIA_INTERFACE_RMII;

  if (HAL_ETH_Init(&heth) != HAL_OK)
  {
    Error_Handler();
  }

}

/* I2C4 init function */
static void MX_I2C4_Init(void)
{

  hi2c4.Instance = I2C4;
  hi2c4.Init.Timing = 0x10C66991;
  hi2c4.Init.OwnAddress1 = 0;
  hi2c4.Init.AddressingMode = I2C_ADDRESSINGMODE_7BIT;
  hi2c4.Init.DualAddressMode = I2C_DUALADDRESS_DISABLE;
  hi2c4.Init.OwnAddress2 = 0;
  hi2c4.Init.OwnAddress2Masks = I2C_OA2_NOMASK;
  hi2c4.Init.GeneralCallMode = I2C_GENERALCALL_DISABLE;
  hi2c4.Init.NoStretchMode = I2C_NOSTRETCH_DISABLE;
  if (HAL_I2C_Init(&hi2c4) != HAL_OK)
  {
    Error_Handler();
  }

    /**Configure Analogue filter
    */
  if (HAL_I2CEx_ConfigAnalogFilter(&hi2c4, I2C_ANALOGFILTER_ENABLE) != HAL_OK)
  {
    Error_Handler();
  }

    /**Configure Digital filter
    */
  if (HAL_I2CEx_ConfigDigitalFilter(&hi2c4, 0) != HAL_OK)
  {
    Error_Handler();
  }

}

/* SPI4 init function */
static void MX_SPI4_Init(void)
{

  hspi4.Instance = SPI4;
  hspi4.Init.Mode = SPI_MODE_MASTER;
  hspi4.Init.Direction = SPI_DIRECTION_2LINES;
  hspi4.Init.DataSize = SPI_DATASIZE_16BIT;
  hspi4.Init.CLKPolarity = SPI_POLARITY_HIGH;
  hspi4.Init.CLKPhase = SPI_PHASE_1EDGE;
  hspi4.Init.NSS = SPI_NSS_SOFT;
  hspi4.Init.BaudRatePrescaler = SPI_BAUDRATEPRESCALER_8;
  hspi4.Init.FirstBit = SPI_FIRSTBIT_MSB;
  hspi4.Init.TIMode = SPI_TIMODE_DISABLE;
  hspi4.Init.CRCCalculation = SPI_CRCCALCULATION_DISABLE;
  hspi4.Init.CRCPolynomial = 7;
  hspi4.Init.CRCLength = SPI_CRC_LENGTH_DATASIZE;
  hspi4.Init.NSSPMode = SPI_NSS_PULSE_DISABLE;
  if (HAL_SPI_Init(&hspi4) != HAL_OK)
  {
    Error_Handler();
  }

}

/* TIM2 init function */
static void MX_TIM2_Init(void)
{

  TIM_ClockConfigTypeDef sClockSourceConfig;
  TIM_MasterConfigTypeDef sMasterConfig;
  TIM_OC_InitTypeDef sConfigOC;

  htim2.Instance = TIM2;
  htim2.Init.Prescaler = 108;
  htim2.Init.CounterMode = TIM_COUNTERMODE_UP;
  htim2.Init.Period = 100;
  htim2.Init.ClockDivision = TIM_CLOCKDIVISION_DIV1;
  htim2.Init.AutoReloadPreload = TIM_AUTORELOAD_PRELOAD_DISABLE;
  if (HAL_TIM_Base_Init(&htim2) != HAL_OK)
  {
    Error_Handler();
  }

  sClockSourceConfig.ClockSource = TIM_CLOCKSOURCE_INTERNAL;
  if (HAL_TIM_ConfigClockSource(&htim2, &sClockSourceConfig) != HAL_OK)
  {
    Error_Handler();
  }

  if (HAL_TIM_PWM_Init(&htim2) != HAL_OK)
  {
    Error_Handler();
  }

  sMasterConfig.MasterOutputTrigger = TIM_TRGO_RESET;
  sMasterConfig.MasterSlaveMode = TIM_MASTERSLAVEMODE_DISABLE;
  if (HAL_TIMEx_MasterConfigSynchronization(&htim2, &sMasterConfig) != HAL_OK)
  {
    Error_Handler();
  }

  sConfigOC.OCMode = TIM_OCMODE_ASSYMETRIC_PWM1;
  sConfigOC.Pulse = 40;
  sConfigOC.OCPolarity = TIM_OCPOLARITY_HIGH;
  sConfigOC.OCFastMode = TIM_OCFAST_ENABLE;
  if (HAL_TIM_PWM_ConfigChannel(&htim2, &sConfigOC, TIM_CHANNEL_1) != HAL_OK)
  {
    Error_Handler();
  }

  HAL_TIM_MspPostInit(&htim2);

}

/* TIM3 init function */
static void MX_TIM3_Init(void)
{

  TIM_ClockConfigTypeDef sClockSourceConfig;
  TIM_MasterConfigTypeDef sMasterConfig;

  htim3.Instance = TIM3;
  htim3.Init.Prescaler = 54;
  htim3.Init.CounterMode = TIM_COUNTERMODE_UP;
  htim3.Init.Period = 400;
  htim3.Init.ClockDivision = TIM_CLOCKDIVISION_DIV1;
  htim3.Init.AutoReloadPreload = TIM_AUTORELOAD_PRELOAD_DISABLE;
  if (HAL_TIM_Base_Init(&htim3) != HAL_OK)
  {
    Error_Handler();
  }

  sClockSourceConfig.ClockSource = TIM_CLOCKSOURCE_INTERNAL;
  if (HAL_TIM_ConfigClockSource(&htim3, &sClockSourceConfig) != HAL_OK)
  {
    Error_Handler();
  }

  sMasterConfig.MasterOutputTrigger = TIM_TRGO_RESET;
  sMasterConfig.MasterSlaveMode = TIM_MASTERSLAVEMODE_DISABLE;
  if (HAL_TIMEx_MasterConfigSynchronization(&htim3, &sMasterConfig) != HAL_OK)
  {
    Error_Handler();
  }

}

/* TIM4 init function */
static void MX_TIM4_Init(void)
{

  TIM_ClockConfigTypeDef sClockSourceConfig;
  TIM_SlaveConfigTypeDef sSlaveConfig;
  TIM_MasterConfigTypeDef sMasterConfig;
  TIM_IC_InitTypeDef sConfigIC;
  TIM_OC_InitTypeDef sConfigOC;

  htim4.Instance = TIM4;
  htim4.Init.Prescaler = 0;
  htim4.Init.CounterMode = TIM_COUNTERMODE_UP;
  htim4.Init.Period = 20000;
  htim4.Init.ClockDivision = TIM_CLOCKDIVISION_DIV1;
  htim4.Init.AutoReloadPreload = TIM_AUTORELOAD_PRELOAD_DISABLE;
  if (HAL_TIM_Base_Init(&htim4) != HAL_OK)
  {
    Error_Handler();
  }

  sClockSourceConfig.ClockSource = TIM_CLOCKSOURCE_INTERNAL;
  if (HAL_TIM_ConfigClockSource(&htim4, &sClockSourceConfig) != HAL_OK)
  {
    Error_Handler();
  }

  if (HAL_TIM_IC_Init(&htim4) != HAL_OK)
  {
    Error_Handler();
  }

  if (HAL_TIM_OC_Init(&htim4) != HAL_OK)
  {
    Error_Handler();
  }

  sSlaveConfig.SlaveMode = TIM_SLAVEMODE_RESET;
  sSlaveConfig.InputTrigger = TIM_TS_TI1FP1;
  sSlaveConfig.TriggerPolarity = TIM_INPUTCHANNELPOLARITY_BOTHEDGE;
  sSlaveConfig.TriggerFilter = 0;
  if (HAL_TIM_SlaveConfigSynchronization(&htim4, &sSlaveConfig) != HAL_OK)
  {
    Error_Handler();
  }

  sMasterConfig.MasterOutputTrigger = TIM_TRGO_RESET;
  sMasterConfig.MasterSlaveMode = TIM_MASTERSLAVEMODE_DISABLE;
  if (HAL_TIMEx_MasterConfigSynchronization(&htim4, &sMasterConfig) != HAL_OK)
  {
    Error_Handler();
  }

  sConfigIC.ICPolarity = TIM_INPUTCHANNELPOLARITY_BOTHEDGE;
  sConfigIC.ICSelection = TIM_ICSELECTION_DIRECTTI;
  sConfigIC.ICPrescaler = TIM_ICPSC_DIV1;
  sConfigIC.ICFilter = 0;
  if (HAL_TIM_IC_ConfigChannel(&htim4, &sConfigIC, TIM_CHANNEL_1) != HAL_OK)
  {
    Error_Handler();
  }

  sConfigOC.OCMode = TIM_OCMODE_TIMING;
  sConfigOC.Pulse = 11000;
  sConfigOC.OCPolarity = TIM_OCPOLARITY_HIGH;
  sConfigOC.OCFastMode = TIM_OCFAST_DISABLE;
  if (HAL_TIM_OC_ConfigChannel(&htim4, &sConfigOC, TIM_CHANNEL_2) != HAL_OK)
  {
    Error_Handler();
  }

}

/* TIM6 init function */
static void MX_TIM6_Init(void)
{

  TIM_MasterConfigTypeDef sMasterConfig;

  htim6.Instance = TIM6;
  htim6.Init.Prescaler = 108;
  htim6.Init.CounterMode = TIM_COUNTERMODE_UP;
  htim6.Init.Period = 100;
  htim6.Init.AutoReloadPreload = TIM_AUTORELOAD_PRELOAD_DISABLE;
  if (HAL_TIM_Base_Init(&htim6) != HAL_OK)
  {
    Error_Handler();
  }

  sMasterConfig.MasterOutputTrigger = TIM_TRGO_RESET;
  sMasterConfig.MasterSlaveMode = TIM_MASTERSLAVEMODE_DISABLE;
  if (HAL_TIMEx_MasterConfigSynchronization(&htim6, &sMasterConfig) != HAL_OK)
  {
    Error_Handler();
  }

}

/* UART5 init function */
static void MX_UART5_Init(void)
{

  huart5.Instance = UART5;
  huart5.Init.BaudRate = 9600;
  huart5.Init.WordLength = UART_WORDLENGTH_8B;
  huart5.Init.StopBits = UART_STOPBITS_1;
  huart5.Init.Parity = UART_PARITY_NONE;
  huart5.Init.Mode = UART_MODE_TX_RX;
  huart5.Init.HwFlowCtl = UART_HWCONTROL_NONE;
  huart5.Init.OverSampling = UART_OVERSAMPLING_16;
  huart5.Init.OneBitSampling = UART_ONE_BIT_SAMPLE_DISABLE;
  huart5.AdvancedInit.AdvFeatureInit = UART_ADVFEATURE_NO_INIT;
  if (HAL_UART_Init(&huart5) != HAL_OK)
  {
    Error_Handler();
  }

}

/* UART7 init function */
static void MX_UART7_Init(void)
{

  huart7.Instance = UART7;
  huart7.Init.BaudRate = 9600;
  huart7.Init.WordLength = UART_WORDLENGTH_8B;
  huart7.Init.StopBits = UART_STOPBITS_1;
  huart7.Init.Parity = UART_PARITY_NONE;
  huart7.Init.Mode = UART_MODE_TX_RX;
  huart7.Init.HwFlowCtl = UART_HWCONTROL_NONE;
  huart7.Init.OverSampling = UART_OVERSAMPLING_16;
  huart7.Init.OneBitSampling = UART_ONE_BIT_SAMPLE_DISABLE;
  huart7.AdvancedInit.AdvFeatureInit = UART_ADVFEATURE_NO_INIT;
  if (HAL_UART_Init(&huart7) != HAL_OK)
  {
    Error_Handler();
  }

}

/* UART8 init function */
static void MX_UART8_Init(void)
{

  huart8.Instance = UART8;
  huart8.Init.BaudRate = 115200;
  huart8.Init.WordLength = UART_WORDLENGTH_8B;
  huart8.Init.StopBits = UART_STOPBITS_1;
  huart8.Init.Parity = UART_PARITY_NONE;
  huart8.Init.Mode = UART_MODE_TX_RX;
  huart8.Init.HwFlowCtl = UART_HWCONTROL_NONE;
  huart8.Init.OverSampling = UART_OVERSAMPLING_16;
  huart8.Init.OneBitSampling = UART_ONE_BIT_SAMPLE_DISABLE;
  huart8.AdvancedInit.AdvFeatureInit = UART_ADVFEATURE_NO_INIT;
  if (HAL_UART_Init(&huart8) != HAL_OK)
  {
    Error_Handler();
  }

}

/* USART3 init function */
static void MX_USART3_UART_Init(void)
{

  huart3.Instance = USART3;
  huart3.Init.BaudRate = 115200;
  huart3.Init.WordLength = UART_WORDLENGTH_8B;
  huart3.Init.StopBits = UART_STOPBITS_1;
  huart3.Init.Parity = UART_PARITY_NONE;
  huart3.Init.Mode = UART_MODE_TX_RX;
  huart3.Init.HwFlowCtl = UART_HWCONTROL_NONE;
  huart3.Init.OverSampling = UART_OVERSAMPLING_16;
  huart3.Init.OneBitSampling = UART_ONE_BIT_SAMPLE_DISABLE;
  huart3.AdvancedInit.AdvFeatureInit = UART_ADVFEATURE_NO_INIT;
  if (HAL_UART_Init(&huart3) != HAL_OK)
  {
    Error_Handler();
  }

}

/* USART6 init function */
static void MX_USART6_UART_Init(void)
{

  huart6.Instance = USART6;
  huart6.Init.BaudRate = 9600;
  huart6.Init.WordLength = UART_WORDLENGTH_8B;
  huart6.Init.StopBits = UART_STOPBITS_1;
  huart6.Init.Parity = UART_PARITY_NONE;
  huart6.Init.Mode = UART_MODE_TX_RX;
  huart6.Init.HwFlowCtl = UART_HWCONTROL_NONE;
  huart6.Init.OverSampling = UART_OVERSAMPLING_16;
  huart6.Init.OneBitSampling = UART_ONE_BIT_SAMPLE_DISABLE;
  huart6.AdvancedInit.AdvFeatureInit = UART_ADVFEATURE_NO_INIT;
  if (HAL_UART_Init(&huart6) != HAL_OK)
  {
    Error_Handler();
  }

}

/* USB_OTG_FS init function */
static void MX_USB_OTG_FS_PCD_Init(void)
{

  hpcd_USB_OTG_FS.Instance = USB_OTG_FS;
  hpcd_USB_OTG_FS.Init.dev_endpoints = 6;
  hpcd_USB_OTG_FS.Init.speed = PCD_SPEED_FULL;
  hpcd_USB_OTG_FS.Init.dma_enable = DISABLE;
  hpcd_USB_OTG_FS.Init.ep0_mps = DEP0CTL_MPS_64;
  hpcd_USB_OTG_FS.Init.phy_itface = PCD_PHY_EMBEDDED;
  hpcd_USB_OTG_FS.Init.Sof_enable = DISABLE;
  hpcd_USB_OTG_FS.Init.low_power_enable = DISABLE;
  hpcd_USB_OTG_FS.Init.lpm_enable = DISABLE;
  hpcd_USB_OTG_FS.Init.vbus_sensing_enable = ENABLE;
  hpcd_USB_OTG_FS.Init.use_dedicated_ep1 = DISABLE;
  if (HAL_PCD_Init(&hpcd_USB_OTG_FS) != HAL_OK)
  {
    Error_Handler();
  }

}

static void MX_DMA_Init(void)
{
  /* DMA controller clock enable */
  __HAL_RCC_DMA2_CLK_ENABLE();
  __HAL_RCC_DMA1_CLK_ENABLE();

  /* DMA interrupt init */
  /* DMA1_Stream1_IRQn interrupt configuration */
  HAL_NVIC_SetPriority(DMA1_Stream1_IRQn, 0, 0);
  HAL_NVIC_EnableIRQ(DMA1_Stream1_IRQn);
  /* DMA1_Stream5_IRQn interrupt configuration */
  HAL_NVIC_SetPriority(DMA1_Stream5_IRQn, 0, 0);
  HAL_NVIC_EnableIRQ(DMA1_Stream5_IRQn);
  /* DMA2_Stream0_IRQn interrupt configuration */
  HAL_NVIC_SetPriority(DMA2_Stream0_IRQn, 0, 0);
  HAL_NVIC_EnableIRQ(DMA2_Stream0_IRQn);

}

/** Configure pins as
        * Analog
        * Input
        * Output
        * EVENT_OUT
        * EXTI
*/
static void MX_GPIO_Init(void)
{

  GPIO_InitTypeDef GPIO_InitStruct;

  /* GPIO Ports Clock Enable */
  __HAL_RCC_GPIOE_CLK_ENABLE();
  __HAL_RCC_GPIOC_CLK_ENABLE();
  __HAL_RCC_GPIOF_CLK_ENABLE();
  __HAL_RCC_GPIOH_CLK_ENABLE();
  __HAL_RCC_GPIOA_CLK_ENABLE();
  __HAL_RCC_GPIOB_CLK_ENABLE();
  __HAL_RCC_GPIOG_CLK_ENABLE();
  __HAL_RCC_GPIOD_CLK_ENABLE();

  /*Configure GPIO pin Output Level */
  HAL_GPIO_WritePin(GPIOE, GPIO_PIN_3|GPIO_PIN_4, GPIO_PIN_RESET);

  /*Configure GPIO pin Output Level */
  HAL_GPIO_WritePin(GPIOF, GPIO_PIN_3|GPIO_PIN_10|GPIO_PIN_11|GPIO_PIN_12
                          |GPIO_PIN_13, GPIO_PIN_RESET);

  /*Configure GPIO pin Output Level */
  HAL_GPIO_WritePin(GPIOB, LD1_Pin|LD3_Pin|LD2_Pin, GPIO_PIN_RESET);

  /*Configure GPIO pin Output Level */
  HAL_GPIO_WritePin(GPIOG, GPIO_PIN_0|GPIO_PIN_1|GPIO_PIN_2|GPIO_PIN_3
                          |GPIO_PIN_4|GPIO_PIN_5|USB_PowerSwitchOn_Pin, GPIO_PIN_RESET);

  /*Configure GPIO pin Output Level */
  HAL_GPIO_WritePin(GPIOD, GPIO_PIN_14|GPIO_PIN_15|HAL_OUT_0_Pin|HAL_OUT_1_Pin
                          |HAL_OUT_2_Pin, GPIO_PIN_RESET);

  /*Configure GPIO pins : PE3 PE4 */
  GPIO_InitStruct.Pin = GPIO_PIN_3|GPIO_PIN_4;
  GPIO_InitStruct.Mode = GPIO_MODE_OUTPUT_PP;
  GPIO_InitStruct.Pull = GPIO_NOPULL;
  GPIO_InitStruct.Speed = GPIO_SPEED_FREQ_LOW;
  HAL_GPIO_Init(GPIOE, &GPIO_InitStruct);

  /*Configure GPIO pin : User_Blue_Button_Pin */
  GPIO_InitStruct.Pin = User_Blue_Button_Pin;
  GPIO_InitStruct.Mode = GPIO_MODE_INPUT;
  GPIO_InitStruct.Pull = GPIO_NOPULL;
  HAL_GPIO_Init(User_Blue_Button_GPIO_Port, &GPIO_InitStruct);

  /*Configure GPIO pins : PF3 PF10 PF11 PF12
                           PF13 */
  GPIO_InitStruct.Pin = GPIO_PIN_3|GPIO_PIN_10|GPIO_PIN_11|GPIO_PIN_12
                          |GPIO_PIN_13;
  GPIO_InitStruct.Mode = GPIO_MODE_OUTPUT_PP;
  GPIO_InitStruct.Pull = GPIO_NOPULL;
  GPIO_InitStruct.Speed = GPIO_SPEED_FREQ_HIGH;
  HAL_GPIO_Init(GPIOF, &GPIO_InitStruct);

  /*Configure GPIO pins : LD1_Pin LD3_Pin LD2_Pin */
  GPIO_InitStruct.Pin = LD1_Pin|LD3_Pin|LD2_Pin;
  GPIO_InitStruct.Mode = GPIO_MODE_OUTPUT_PP;
  GPIO_InitStruct.Pull = GPIO_NOPULL;
  GPIO_InitStruct.Speed = GPIO_SPEED_FREQ_LOW;
  HAL_GPIO_Init(GPIOB, &GPIO_InitStruct);

  /*Configure GPIO pins : PG0 PG1 PG2 PG3
                           PG4 PG5 USB_PowerSwitchOn_Pin */
  GPIO_InitStruct.Pin = GPIO_PIN_0|GPIO_PIN_1|GPIO_PIN_2|GPIO_PIN_3
                          |GPIO_PIN_4|GPIO_PIN_5|USB_PowerSwitchOn_Pin;
  GPIO_InitStruct.Mode = GPIO_MODE_OUTPUT_PP;
  GPIO_InitStruct.Pull = GPIO_NOPULL;
  GPIO_InitStruct.Speed = GPIO_SPEED_FREQ_LOW;
  HAL_GPIO_Init(GPIOG, &GPIO_InitStruct);

  /*Configure GPIO pins : PD13 PD0 PD1 */
  GPIO_InitStruct.Pin = GPIO_PIN_13|GPIO_PIN_0|GPIO_PIN_1;
  GPIO_InitStruct.Mode = GPIO_MODE_IT_RISING;
  GPIO_InitStruct.Pull = GPIO_PULLUP;
  HAL_GPIO_Init(GPIOD, &GPIO_InitStruct);

  /*Configure GPIO pins : PD14 PD15 HAL_OUT_0_Pin HAL_OUT_1_Pin
                           HAL_OUT_2_Pin */
  GPIO_InitStruct.Pin = GPIO_PIN_14|GPIO_PIN_15|HAL_OUT_0_Pin|HAL_OUT_1_Pin
                          |HAL_OUT_2_Pin;
  GPIO_InitStruct.Mode = GPIO_MODE_OUTPUT_PP;
  GPIO_InitStruct.Pull = GPIO_NOPULL;
  GPIO_InitStruct.Speed = GPIO_SPEED_FREQ_LOW;
  HAL_GPIO_Init(GPIOD, &GPIO_InitStruct);

  /*Configure GPIO pin : USB_OverCurrent_Pin */
  GPIO_InitStruct.Pin = USB_OverCurrent_Pin;
  GPIO_InitStruct.Mode = GPIO_MODE_INPUT;
  GPIO_InitStruct.Pull = GPIO_NOPULL;
  HAL_GPIO_Init(USB_OverCurrent_GPIO_Port, &GPIO_InitStruct);

  /* EXTI interrupt init*/
  HAL_NVIC_SetPriority(EXTI0_IRQn, 3, 0);
  HAL_NVIC_EnableIRQ(EXTI0_IRQn);

  HAL_NVIC_SetPriority(EXTI1_IRQn, 3, 0);
  HAL_NVIC_EnableIRQ(EXTI1_IRQn);

  HAL_NVIC_SetPriority(EXTI15_10_IRQn, 3, 0);
  HAL_NVIC_EnableIRQ(EXTI15_10_IRQn);

}

void Error_Handler(void)
{
  while(1)
  {
  }
}

/************************ (C) COPYRIGHT STMicroelectronics *****END OF FILE****/
